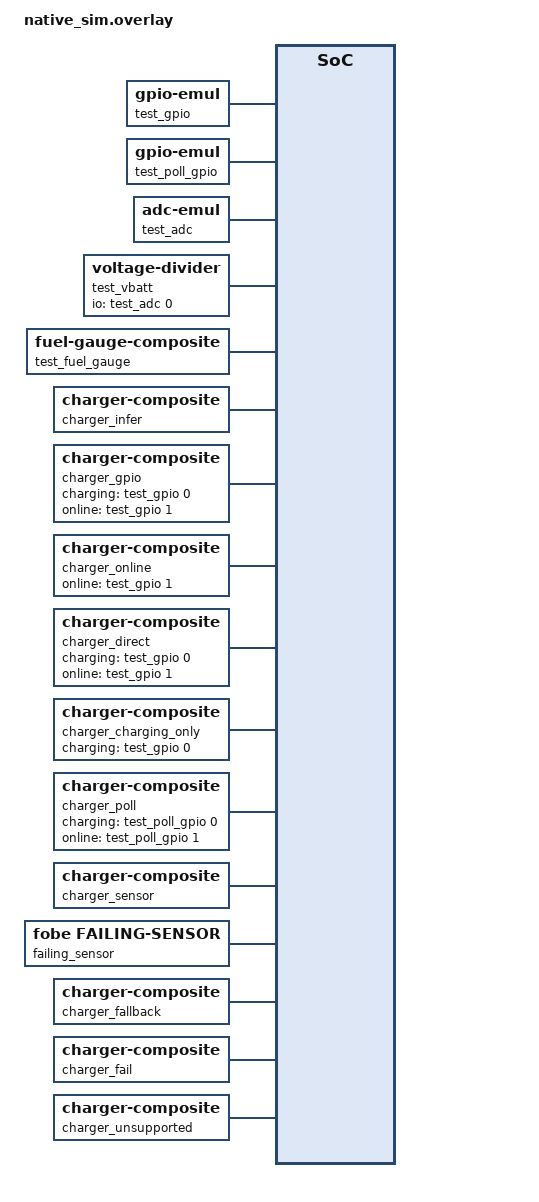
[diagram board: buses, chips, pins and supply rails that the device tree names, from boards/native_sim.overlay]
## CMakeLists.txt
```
# Copyright (c) 2025 FoBE Projects
# SPDX-License-Identifier: Apache-2.0

cmake_minimum_required(VERSION 3.20.0)

find_package(Zephyr REQUIRED HINTS $ENV{ZEPHYR_BASE})
project(charger_composite_test)

target_sources(app PRIVATE
    src/main.c
)
```

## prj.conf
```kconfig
# Copyright (c) 2026 FoBE Studio
# SPDX-License-Identifier: Apache-2.0

CONFIG_ZTEST=y
CONFIG_ASSERT=y

CONFIG_LOG=y
CONFIG_LOG_MODE_MINIMAL=y

CONFIG_GPIO=y
CONFIG_GPIO_EMUL=y

CONFIG_ADC=y
CONFIG_ADC_EMUL=y

CONFIG_SENSOR=y
CONFIG_FUEL_GAUGE=y
CONFIG_FUEL_GAUGE_COMPOSITE=y
CONFIG_FUEL_GAUGE_COMPOSITE_DATA_VALIDITY_MS=10

CONFIG_CHARGER=y
CONFIG_CHARGER_COMPOSITE=y
CONFIG_CHARGER_COMPOSITE_DATA_VALIDITY_MS=10

CONFIG_PM_DEVICE=y
CONFIG_PM_DEVICE_RUNTIME=y
```

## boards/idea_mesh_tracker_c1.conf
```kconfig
# Copyright (c) 2025 FoBE Projects
# SPDX-License-Identifier: Apache-2.0

# ADC for voltage divider
CONFIG_ADC=y

# Fuel gauge composite
CONFIG_FUEL_GAUGE_COMPOSITE=y
CONFIG_CHARGER_COMPOSITE=y
```

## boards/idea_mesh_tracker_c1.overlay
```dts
/*
 * Copyright (c) 2025 FoBE Projects
 *
 * SPDX-License-Identifier: Apache-2.0
 */

/*
 * No overlay needed for idea_mesh_tracker_c1 - the charger node is already
 * defined in the board's common dtsi file with:
 *   - source-primary = <&vbatt>
 *   - charging-gpios = <&gpio1 12 GPIO_ACTIVE_LOW>
 *   - constant-charge-voltage-max-microvolt = <4150000>
 */
```

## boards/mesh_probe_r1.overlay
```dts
/*
 * Copyright (c) 2025 FoBE Projects
 *
 * SPDX-License-Identifier: Apache-2.0
 */

/*
 * No overlay needed for mesh_probe_r1 - the charger node is already
 * defined in the board's common dtsi file with:
 *   - source-primary = <&vbatt>
 *   - charging-gpios = <&gpio1 12 GPIO_ACTIVE_LOW>
 *   - constant-charge-voltage-max-microvolt = <4150000>
 */
```

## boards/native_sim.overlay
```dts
/*
 * Copyright (c) 2026 FoBE Studio
 *
 * SPDX-License-Identifier: Apache-2.0
 */

#include <zephyr/dt-bindings/adc/adc.h>
#include <zephyr/dt-bindings/battery/battery.h>
#include <zephyr/dt-bindings/gpio/gpio.h>

/ {
	test_gpio: gpio {
		compatible = "zephyr,gpio-emul";
		ngpios = <2>;
		status = "okay";
		#gpio-cells = <2>;
		gpio-controller;
		rising-edge;
		falling-edge;
	};

	test_poll_gpio: poll_gpio {
		compatible = "zephyr,gpio-emul";
		ngpios = <2>;
		status = "okay";
		#gpio-cells = <2>;
		gpio-controller;
	};

	test_adc: adc {
		compatible = "zephyr,adc-emul";
		nchannels = <1>;
		ref-internal-mv = <3300>;
		ref-external1-mv = <5000>;
		#io-channel-cells = <1>;
		status = "okay";

		#address-cells = <1>;
		#size-cells = <0>;

		channel@0 {
			reg = <0>;
			zephyr,gain = "ADC_GAIN_1_2";
			zephyr,reference = "ADC_REF_INTERNAL";
			zephyr,vref-mv = <3300>;
			zephyr,acquisition-time = <ADC_ACQ_TIME_DEFAULT>;
			zephyr,resolution = <12>;
		};
	};

	test_vbatt: vbatt {
		compatible = "voltage-divider";
		io-channels = <&test_adc 0>;
		output-ohms = <100000>;
		full-ohms = <100000>;
	};

	test_fuel_gauge: fuel_gauge {
		compatible = "zephyr,fuel-gauge-composite";
		source-primary = <&test_vbatt>;
		device-chemistry = "lithium-ion-polymer";
		ocv-capacity-table-0 = <BATTERY_OCV_CURVE_LITHIUM_ION_POLYMER_DEFAULT>;
		charge-full-design-microamp-hours = <1500000>;
	};

	charger_infer: charger_infer {
		compatible = "zephyr,charger-composite";
		source-primary = <&test_fuel_gauge>;
		constant-charge-voltage-max-microvolt = <4200000>;
		charge-full-hysteresis-microvolt = <50000>;
		charge-detect-rise-threshold-microvolt = <8000>;
		charge-detect-fall-threshold-microvolt = <12000>;
		charge-detect-sample-interval-ms = <20>;
		charge-detect-enter-count = <2>;
		charge-detect-exit-count = <2>;
		charge-detect-hold-ms = <200>;
		online-infer-hold-ms = <300>;
	};

	charger_gpio: charger_gpio {
		compatible = "zephyr,charger-composite";
		source-primary = <&test_fuel_gauge>;
		charging-gpios = <&test_gpio 0 GPIO_ACTIVE_HIGH>;
		online-gpios = <&test_gpio 1 GPIO_ACTIVE_HIGH>;
		constant-charge-voltage-max-microvolt = <4200000>;
		gpio-debounce-ms = <10>;
	};

	charger_online: charger_online {
		compatible = "zephyr,charger-composite";
		source-primary = <&test_fuel_gauge>;
		online-gpios = <&test_gpio 1 GPIO_ACTIVE_HIGH>;
		constant-charge-voltage-max-microvolt = <4200000>;
		charge-detect-rise-threshold-microvolt = <8000>;
		charge-detect-fall-threshold-microvolt = <12000>;
		charge-detect-sample-interval-ms = <20>;
		charge-detect-enter-count = <2>;
		charge-detect-exit-count = <2>;
		charge-detect-hold-ms = <200>;
		gpio-debounce-ms = <10>;
	};

	charger_direct: charger_direct {
		compatible = "zephyr,charger-composite";
		charging-gpios = <&test_gpio 0 GPIO_ACTIVE_HIGH>;
		online-gpios = <&test_gpio 1 GPIO_ACTIVE_HIGH>;
		gpio-debounce-ms = <10>;
	};

	charger_charging_only: charger_charging_only {
		compatible = "zephyr,charger-composite";
		charging-gpios = <&test_gpio 0 GPIO_ACTIVE_HIGH>;
		gpio-debounce-ms = <10>;
	};

	charger_poll: charger_poll {
		compatible = "zephyr,charger-composite";
		charging-gpios = <&test_poll_gpio 0 GPIO_ACTIVE_HIGH>;
		online-gpios = <&test_poll_gpio 1 GPIO_ACTIVE_HIGH>;
		gpio-poll-interval-ms = <20>;
	};

	charger_sensor: charger_sensor {
		compatible = "zephyr,charger-composite";
		source-primary = <&test_vbatt>;
		constant-charge-voltage-max-microvolt = <4200000>;
	};

	failing_sensor: failing_sensor {
		compatible = "fobe,failing-sensor";
		status = "okay";
	};

	unsupported_source: unsupported_source {
		compatible = "fobe,unsupported-device";
		status = "okay";
	};

	charger_fallback: charger_fallback {
		compatible = "zephyr,charger-composite";
		source-primary = <&failing_sensor>;
		source-secondary = <&test_fuel_gauge>;
		constant-charge-voltage-max-microvolt = <4200000>;
	};

	charger_fail: charger_fail {
		compatible = "zephyr,charger-composite";
		source-primary = <&failing_sensor>;
	};

	charger_unsupported: charger_unsupported {
		compatible = "zephyr,charger-composite";
		source-primary = <&unsupported_source>;
	};
};
```

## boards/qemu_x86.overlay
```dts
/*
 * Copyright (c) 2026 FoBE Studio
 *
 * SPDX-License-Identifier: Apache-2.0
 */

#include "native_sim.overlay"
```

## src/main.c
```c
/*
 * Copyright (c) 2026 FoBE Studio
 *
 * SPDX-License-Identifier: Apache-2.0
 */

#include <zephyr/device.h>
#include <zephyr/devicetree.h>
#include <zephyr/drivers/adc/adc_emul.h>
#include <zephyr/drivers/charger.h>
#include <zephyr/drivers/gpio/gpio_emul.h>
#include <zephyr/drivers/sensor.h>
#include <zephyr/kernel.h>
#include <zephyr/sys/util.h>
#include <zephyr/ztest.h>

#define ADC_NODE DT_NODELABEL(test_adc)
#define ADC_CHANNEL_ID 0

#define CHARGER_INFER_NODE DT_NODELABEL(charger_infer)
#define CHARGER_GPIO_NODE          DT_NODELABEL(charger_gpio)
#define CHARGER_ONLINE_NODE        DT_NODELABEL(charger_online)
#define CHARGER_DIRECT_NODE        DT_NODELABEL(charger_direct)
#define CHARGER_CHARGING_ONLY_NODE DT_NODELABEL(charger_charging_only)
#define CHARGER_POLL_NODE          DT_NODELABEL(charger_poll)
#define CHARGER_SENSOR_NODE DT_NODELABEL(charger_sensor)
#define CHARGER_FALLBACK_NODE DT_NODELABEL(charger_fallback)
#define CHARGER_FAIL_NODE DT_NODELABEL(charger_fail)
#define CHARGER_UNSUPPORTED_NODE DT_NODELABEL(charger_unsupported)
#define FAILING_SENSOR_NODE DT_NODELABEL(failing_sensor)
#define UNSUPPORTED_SOURCE_NODE DT_NODELABEL(unsupported_source)

#define GPIO_NODE DT_NODELABEL(test_gpio)
#define CHARGING_PIN DT_GPIO_PIN(CHARGER_GPIO_NODE, charging_gpios)
#define ONLINE_PIN DT_GPIO_PIN(CHARGER_GPIO_NODE, online_gpios)
#define POLL_GPIO_NODE    DT_NODELABEL(test_poll_gpio)
#define POLL_CHARGING_PIN DT_GPIO_PIN(CHARGER_POLL_NODE, charging_gpios)
#define POLL_ONLINE_PIN   DT_GPIO_PIN(CHARGER_POLL_NODE, online_gpios)

#define INFER_SAMPLE_INTERVAL_MS DT_PROP(CHARGER_INFER_NODE, charge_detect_sample_interval_ms)
#define INFER_HOLD_MS            DT_PROP(CHARGER_INFER_NODE, charge_detect_hold_ms)
#define ONLINE_HOLD_MS           DT_PROP(CHARGER_INFER_NODE, online_infer_hold_ms)
#define GPIO_DEBOUNCE_MS         DT_PROP(CHARGER_DIRECT_NODE, gpio_debounce_ms)
#define GPIO_POLL_INTERVAL_MS \
	DT_PROP(CHARGER_POLL_NODE, gpio_poll_interval_ms)

static const struct device *const adc_dev = DEVICE_DT_GET(ADC_NODE);
static const struct device *const charger_infer_dev = DEVICE_DT_GET(CHARGER_INFER_NODE);
static const struct device *const charger_gpio_dev = DEVICE_DT_GET(CHARGER_GPIO_NODE);
static const struct device *const charger_online_dev =
	DEVICE_DT_GET(CHARGER_ONLINE_NODE);
static const struct device *const charger_direct_dev =
	DEVICE_DT_GET(CHARGER_DIRECT_NODE);
static const struct device *const charger_charging_only_dev =
	DEVICE_DT_GET(CHARGER_CHARGING_ONLY_NODE);
static const struct device *const charger_poll_dev =
	DEVICE_DT_GET(CHARGER_POLL_NODE);
static const struct device *const charger_sensor_dev = DEVICE_DT_GET(CHARGER_SENSOR_NODE);
static const struct device *const charger_fallback_dev = DEVICE_DT_GET(CHARGER_FALLBACK_NODE);
static const struct device *const charger_fail_dev = DEVICE_DT_GET(CHARGER_FAIL_NODE);
static const struct device *const charger_unsupported_dev = DEVICE_DT_GET(CHARGER_UNSUPPORTED_NODE);
static const struct device *const failing_sensor_dev = DEVICE_DT_GET(FAILING_SENSOR_NODE);
static const struct device *const unsupported_source_dev = DEVICE_DT_GET(UNSUPPORTED_SOURCE_NODE);
static const struct device *const gpio_dev = DEVICE_DT_GET(GPIO_NODE);
static const struct device *const poll_gpio_dev = DEVICE_DT_GET(POLL_GPIO_NODE);

static K_SEM_DEFINE(status_notification_sem, 0, 1);
static K_SEM_DEFINE(online_notification_sem, 0, 1);
static enum charger_status notified_status;
static enum charger_online notified_online;

static void test_status_notifier(enum charger_status status)
{
	notified_status = status;
	k_sem_give(&status_notification_sem);
}

static void test_online_notifier(enum charger_online online)
{
	notified_online = online;
	k_sem_give(&online_notification_sem);
}

static int test_set_status_notifier(const struct device *charger_dev,
				    charger_status_notifier_t notifier)
{
	union charger_propval val = {.status_notification = notifier};

	return charger_set_prop(charger_dev, CHARGER_PROP_STATUS_NOTIFICATION,
				&val);
}

static int test_set_online_notifier(const struct device *charger_dev,
				    charger_online_notifier_t notifier)
{
	union charger_propval val = {.online_notification = notifier};

	return charger_set_prop(charger_dev, CHARGER_PROP_ONLINE_NOTIFICATION,
				&val);
}

static int test_source_init(const struct device *dev)
{
	ARG_UNUSED(dev);

	return 0;
}

static int failing_sensor_sample_fetch(const struct device *dev, enum sensor_channel chan)
{
	ARG_UNUSED(dev);
	ARG_UNUSED(chan);

	return -EIO;
}

static int failing_sensor_channel_get(const struct device *dev, enum sensor_channel chan,
				      struct sensor_value *val)
{
	ARG_UNUSED(dev);
	ARG_UNUSED(chan);

	val->val1 = 0;
	val->val2 = 0;
	return 0;
}

static DEVICE_API(sensor, failing_sensor_api) = {
	.sample_fetch = failing_sensor_sample_fetch,
	.channel_get = failing_sensor_channel_get,
};

DEVICE_DT_DEFINE(FAILING_SENSOR_NODE, test_source_init, NULL, NULL, NULL, POST_KERNEL, 80,
		 &failing_sensor_api);
DEVICE_DT_DEFINE(UNSUPPORTED_SOURCE_NODE, test_source_init, NULL, NULL, NULL, POST_KERNEL, 80,
		 NULL);

static int test_get_status_rc(const struct device *charger_dev, enum charger_status *status)
{
	union charger_propval val;
	int rc = charger_get_prop(charger_dev, CHARGER_PROP_STATUS, &val);

	if (rc == 0) {
		*status = val.status;
	}

	return rc;
}

static enum charger_status test_get_status(const struct device *charger_dev)
{
	enum charger_status status;
	int rc = test_get_status_rc(charger_dev, &status);

	zassert_ok(rc, "CHARGER_PROP_STATUS failed: %d", rc);
	return status;
}

static enum charger_online test_get_online(const struct device *charger_dev)
{
	union charger_propval val;
	int rc = charger_get_prop(charger_dev, CHARGER_PROP_ONLINE, &val);

	zassert_ok(rc, "CHARGER_PROP_ONLINE failed: %d", rc);
	return val.online;
}

static void test_set_battery_mv(uint32_t voltage_mv)
{
	int rc = adc_emul_const_value_set(adc_dev, ADC_CHANNEL_ID, voltage_mv);

	zassert_ok(rc, "adc_emul_const_value_set failed: %d", rc);
	k_sleep(K_MSEC(CONFIG_CHARGER_COMPOSITE_DATA_VALIDITY_MS + 5));
}

static void test_wait_infer_window(void)
{
	k_sleep(K_MSEC(INFER_SAMPLE_INTERVAL_MS + 5));
}

static void test_drive_inferred_charging(const struct device *charger_dev)
{
	test_set_battery_mv(3900);
	test_wait_infer_window();
	(void)test_get_status(charger_dev);

	test_set_battery_mv(3925);
	test_wait_infer_window();
	(void)test_get_status(charger_dev);

	test_set_battery_mv(3950);
	test_wait_infer_window();
	zassert_equal(test_get_status(charger_dev), CHARGER_STATUS_CHARGING);
}

static void *charger_composite_setup(void)
{
	zassert_true(device_is_ready(adc_dev), "adc device not ready");
	zassert_true(device_is_ready(charger_infer_dev), "inferred charger not ready");
	zassert_true(device_is_ready(charger_gpio_dev), "gpio charger not ready");
	zassert_true(device_is_ready(charger_online_dev),
		     "online charger not ready");
	zassert_true(device_is_ready(charger_direct_dev),
		     "direct charger not ready");
	zassert_true(device_is_ready(charger_charging_only_dev),
		     "charging-only charger not ready");
	zassert_true(device_is_ready(charger_poll_dev),
		     "poll charger not ready");
	zassert_true(device_is_ready(charger_sensor_dev), "sensor charger not ready");
	zassert_true(device_is_ready(charger_fallback_dev), "fallback charger not ready");
	zassert_true(device_is_ready(charger_fail_dev), "failure charger not ready");
	zassert_true(device_is_ready(charger_unsupported_dev), "unsupported charger not ready");
	zassert_true(device_is_ready(failing_sensor_dev), "failing sensor not ready");
	zassert_true(device_is_ready(unsupported_source_dev), "unsupported source not ready");
	zassert_true(device_is_ready(gpio_dev), "gpio emul device not ready");
	zassert_true(device_is_ready(poll_gpio_dev),
		     "poll gpio emul device not ready");

	return NULL;
}

static void charger_composite_before(void *fixture)
{
	ARG_UNUSED(fixture);

	zassert_ok(gpio_emul_input_set(gpio_dev, CHARGING_PIN, 0));
	zassert_ok(gpio_emul_input_set(gpio_dev, ONLINE_PIN, 0));
	zassert_ok(gpio_emul_input_set(poll_gpio_dev, POLL_CHARGING_PIN, 0));
	zassert_ok(gpio_emul_input_set(poll_gpio_dev, POLL_ONLINE_PIN, 0));
	k_sem_reset(&status_notification_sem);
	k_sem_reset(&online_notification_sem);
	notified_status = CHARGER_STATUS_UNKNOWN;
	notified_online = CHARGER_ONLINE_OFFLINE;
	test_set_battery_mv(3900);
	test_wait_infer_window();
	(void)test_get_status(charger_infer_dev);
	k_sleep(K_MSEC(MAX(INFER_HOLD_MS, ONLINE_HOLD_MS) + 20));
	(void)test_get_status(charger_infer_dev);
}

ZTEST(charger_composite, test_infer_status_from_voltage_trend)
{
	test_set_battery_mv(3900);
	test_wait_infer_window();
	zassert_equal(test_get_status(charger_infer_dev), CHARGER_STATUS_NOT_CHARGING);

	test_set_battery_mv(3925);
	test_wait_infer_window();
	zassert_equal(test_get_status(charger_infer_dev), CHARGER_STATUS_NOT_CHARGING);

	test_set_battery_mv(3950);
	test_wait_infer_window();
	zassert_equal(test_get_status(charger_infer_dev), CHARGER_STATUS_CHARGING);

	test_set_battery_mv(3920);
	test_wait_infer_window();
	zassert_equal(test_get_status(charger_infer_dev), CHARGER_STATUS_CHARGING);

	test_set_battery_mv(3890);
	test_wait_infer_window();
	zassert_equal(test_get_status(charger_infer_dev), CHARGER_STATUS_NOT_CHARGING);
}

ZTEST(charger_composite, test_infer_status_hold_timeout)
{
	test_drive_inferred_charging(charger_infer_dev);
	test_set_battery_mv(3950);
	test_wait_infer_window();
	zassert_equal(test_get_status(charger_infer_dev), CHARGER_STATUS_CHARGING);

	k_sleep(K_MSEC(INFER_HOLD_MS + INFER_SAMPLE_INTERVAL_MS + 20));
	zassert_equal(test_get_status(charger_infer_dev), CHARGER_STATUS_NOT_CHARGING);
}

ZTEST(charger_composite, test_full_hysteresis_without_charging_gpio)
{
	test_set_battery_mv(4210);
	test_wait_infer_window();
	zassert_equal(test_get_status(charger_infer_dev), CHARGER_STATUS_FULL);

	test_set_battery_mv(4160);
	test_wait_infer_window();
	zassert_equal(test_get_status(charger_infer_dev), CHARGER_STATUS_FULL);

	test_set_battery_mv(4130);
	test_wait_infer_window();
	zassert_not_equal(test_get_status(charger_infer_dev), CHARGER_STATUS_FULL);
}

ZTEST(charger_composite, test_infer_online_without_online_gpio)
{
	test_set_battery_mv(3900);
	test_wait_infer_window();
	zassert_equal(test_get_online(charger_infer_dev), CHARGER_ONLINE_OFFLINE);

	test_drive_inferred_charging(charger_infer_dev);
	zassert_equal(test_get_online(charger_infer_dev), CHARGER_ONLINE_FIXED);

	k_sleep(K_MSEC(INFER_HOLD_MS + INFER_SAMPLE_INTERVAL_MS + 20));
	zassert_equal(test_get_online(charger_infer_dev), CHARGER_ONLINE_FIXED);

	k_sleep(K_MSEC(ONLINE_HOLD_MS + 20));
	zassert_equal(test_get_online(charger_infer_dev), CHARGER_ONLINE_OFFLINE);
}

ZTEST(charger_composite, test_gpio_mode_compatibility)
{
	test_set_battery_mv(3900);

	zassert_ok(gpio_emul_input_set(gpio_dev, ONLINE_PIN, 1));
	zassert_ok(gpio_emul_input_set(gpio_dev, CHARGING_PIN, 1));
	zassert_equal(test_get_status(charger_gpio_dev), CHARGER_STATUS_CHARGING);

	zassert_equal(test_get_online(charger_gpio_dev), CHARGER_ONLINE_FIXED);

	zassert_ok(gpio_emul_input_set(gpio_dev, CHARGING_PIN, 0));
	zassert_equal(test_get_status(charger_gpio_dev), CHARGER_STATUS_NOT_CHARGING);

	zassert_ok(gpio_emul_input_set(gpio_dev, ONLINE_PIN, 0));
	zassert_equal(test_get_online(charger_gpio_dev), CHARGER_ONLINE_OFFLINE);

	zassert_ok(gpio_emul_input_set(gpio_dev, ONLINE_PIN, 1));
	test_set_battery_mv(4210);
	test_wait_infer_window();
	zassert_equal(test_get_status(charger_gpio_dev), CHARGER_STATUS_FULL);
}

ZTEST(charger_composite, test_online_gpio_off_clears_inferred_charging)
{
	zassert_ok(gpio_emul_input_set(gpio_dev, ONLINE_PIN, 1));
	test_drive_inferred_charging(charger_online_dev);

	zassert_ok(gpio_emul_input_set(gpio_dev, ONLINE_PIN, 0));
	zassert_equal(test_get_status(charger_online_dev),
		      CHARGER_STATUS_NOT_CHARGING);
}

ZTEST(charger_composite, test_gpio_edges_drive_standard_notifications)
{
	zassert_ok(test_set_status_notifier(charger_direct_dev,
					    test_status_notifier));
	zassert_ok(test_set_online_notifier(charger_direct_dev,
					    test_online_notifier));
	k_sleep(K_MSEC(GPIO_DEBOUNCE_MS + 10));

	zassert_ok(gpio_emul_input_set(gpio_dev, ONLINE_PIN, 1));
	zassert_ok(gpio_emul_input_set(gpio_dev, CHARGING_PIN, 1));
	zassert_ok(k_sem_take(&online_notification_sem,
			      K_MSEC(GPIO_DEBOUNCE_MS + 100)));
	zassert_ok(k_sem_take(&status_notification_sem,
			      K_MSEC(GPIO_DEBOUNCE_MS + 100)));
	zassert_equal(notified_online, CHARGER_ONLINE_FIXED);
	zassert_equal(notified_status, CHARGER_STATUS_CHARGING);

	k_sem_reset(&online_notification_sem);
	k_sem_reset(&status_notification_sem);
	zassert_ok(gpio_emul_input_set(gpio_dev, CHARGING_PIN, 0));
	zassert_ok(k_sem_take(&status_notification_sem,
			      K_MSEC(GPIO_DEBOUNCE_MS + 100)));
	zassert_equal(notified_status, CHARGER_STATUS_NOT_CHARGING);
	zassert_equal(k_sem_take(&online_notification_sem,
				 K_MSEC(GPIO_DEBOUNCE_MS + 20)),
		      -EAGAIN);

	k_sem_reset(&online_notification_sem);
	k_sem_reset(&status_notification_sem);
	zassert_ok(gpio_emul_input_set(gpio_dev, ONLINE_PIN, 0));
	zassert_ok(k_sem_take(&online_notification_sem,
			      K_MSEC(GPIO_DEBOUNCE_MS + 100)));
	zassert_equal(notified_online, CHARGER_ONLINE_OFFLINE);
	zassert_equal(k_sem_take(&status_notification_sem,
				 K_MSEC(GPIO_DEBOUNCE_MS + 20)),
		      -EAGAIN);

	zassert_ok(test_set_status_notifier(charger_direct_dev, NULL));
	zassert_ok(test_set_online_notifier(charger_direct_dev, NULL));
}

ZTEST(charger_composite, test_notification_support_matches_state_sources)
{
	zassert_equal(test_set_status_notifier(charger_infer_dev,
					       test_status_notifier),
		      -ENOTSUP);
	zassert_equal(test_set_online_notifier(charger_infer_dev,
					       test_online_notifier),
		      -ENOTSUP);

	zassert_equal(test_set_status_notifier(charger_gpio_dev,
					       test_status_notifier),
		      -ENOTSUP);
	zassert_ok(test_set_online_notifier(charger_gpio_dev,
					    test_online_notifier));
	zassert_ok(test_set_online_notifier(charger_gpio_dev, NULL));

	zassert_ok(test_set_status_notifier(charger_charging_only_dev,
					    test_status_notifier));
	zassert_equal(test_set_online_notifier(charger_charging_only_dev,
					       test_online_notifier),
		      -ENOTSUP);
	zassert_ok(test_set_status_notifier(charger_charging_only_dev, NULL));
}

ZTEST(charger_composite, test_gpio_poll_fallback_uses_standard_notifications)
{
	zassert_ok(test_set_status_notifier(charger_poll_dev,
					    test_status_notifier));
	zassert_ok(test_set_online_notifier(charger_poll_dev,
					    test_online_notifier));
	k_sleep(K_MSEC(GPIO_POLL_INTERVAL_MS + 10));

	zassert_ok(gpio_emul_input_set(poll_gpio_dev, POLL_ONLINE_PIN, 1));
	zassert_ok(gpio_emul_input_set(poll_gpio_dev, POLL_CHARGING_PIN, 1));
	zassert_ok(k_sem_take(&online_notification_sem,
			      K_MSEC(GPIO_POLL_INTERVAL_MS + 100)));
	zassert_ok(k_sem_take(&status_notification_sem,
			      K_MSEC(GPIO_POLL_INTERVAL_MS + 100)));
	zassert_equal(notified_online, CHARGER_ONLINE_FIXED);
	zassert_equal(notified_status, CHARGER_STATUS_CHARGING);

	zassert_ok(test_set_status_notifier(charger_poll_dev, NULL));
	zassert_ok(test_set_online_notifier(charger_poll_dev, NULL));

	k_sem_reset(&online_notification_sem);
	k_sem_reset(&status_notification_sem);
	zassert_ok(gpio_emul_input_set(poll_gpio_dev, POLL_ONLINE_PIN, 0));
	zassert_ok(gpio_emul_input_set(poll_gpio_dev, POLL_CHARGING_PIN, 0));
	k_sleep(K_MSEC(GPIO_POLL_INTERVAL_MS * 2U));
	zassert_equal(k_sem_take(&online_notification_sem, K_NO_WAIT), -EBUSY);
	zassert_equal(k_sem_take(&status_notification_sem, K_NO_WAIT), -EBUSY);
}

ZTEST(charger_composite, test_sensor_source_voltage)
{
	test_set_battery_mv(4210);
	test_wait_infer_window();
	zassert_equal(test_get_status(charger_sensor_dev), CHARGER_STATUS_FULL);
}

ZTEST(charger_composite, test_primary_failure_falls_back_to_secondary)
{
	test_set_battery_mv(4210);
	test_wait_infer_window();
	zassert_equal(test_get_status(charger_fallback_dev), CHARGER_STATUS_FULL);
}

ZTEST(charger_composite, test_source_failures_are_returned)
{
	enum charger_status status;

	zassert_equal(test_get_status_rc(charger_fail_dev, &status), -EIO);
	zassert_equal(test_get_status_rc(charger_unsupported_dev, &status), -ENOTSUP);
}

ZTEST_SUITE(charger_composite, NULL, charger_composite_setup, charger_composite_before, NULL, NULL);
```
